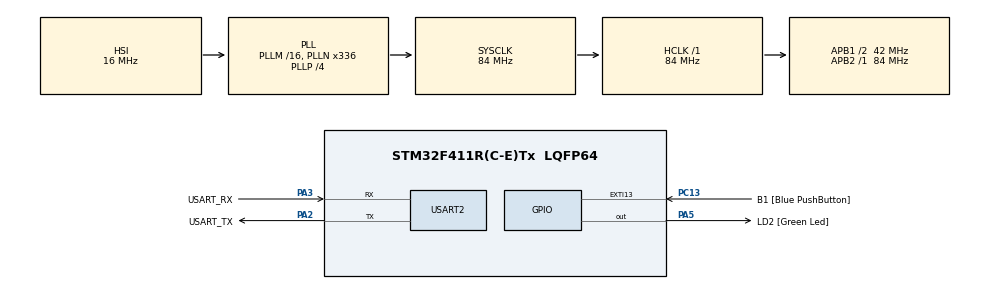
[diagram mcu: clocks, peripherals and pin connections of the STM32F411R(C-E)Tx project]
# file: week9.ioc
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Mcu.Family=STM32F4
Mcu.Name=STM32F411R(C-E)Tx
Mcu.Package=LQFP64
NVIC.PriorityGroup=NVIC_PRIORITYGROUP_0
NVIC.USART2_IRQn=true\:0\:0\:false\:false\:true\:true\:true
PA13.GPIO_Label=TMS
PA13.Mode=Serial_Wire
PA13.Signal=SYS_JTMS-SWDIO
PA14.GPIO_Label=TCK
PA14.Mode=Serial_Wire
PA14.Signal=SYS_JTCK-SWCLK
PA2.GPIO_Label=USART_TX
PA2.Mode=Asynchronous
PA2.Signal=USART2_TX
PA3.GPIO_Label=USART_RX
PA3.Mode=Asynchronous
PA3.Signal=USART2_RX
PA5.GPIO_Label=LD2 [Green Led]
PA5.Signal=GPIO_Output
PB3.GPIO_Label=SWO
PB3.Signal=SYS_JTDO-SWO
PC13-ANTI_TAMP.GPIO_Label=B1 [Blue PushButton]
PC13-ANTI_TAMP.GPIO_ModeDefaultEXTI=GPIO_MODE_IT_FALLING
PC13-ANTI_TAMP.Signal=GPXTI13
PC14-OSC32_IN.Mode=LSE-External-Oscillator
PC14-OSC32_IN.Signal=RCC_OSC32_IN
PC15-OSC32_OUT.Mode=LSE-External-Oscillator
PC15-OSC32_OUT.Signal=RCC_OSC32_OUT
PH0\ -\ OSC_IN.Mode=HSE-External-Clock-Source
PH0\ -\ OSC_IN.Signal=RCC_OSC_IN
PH1\ -\ OSC_OUT.Mode=HSE-External-Clock-Source
PH1\ -\ OSC_OUT.Signal=RCC_OSC_OUT
ProjectManager.HeapSize=0x200
ProjectManager.StackSize=0x400
ProjectManager.TargetToolchain=STM32CubeIDE
RCC.48MHZClocksFreq_Value=84000000
RCC.AHBFreq_Value=84000000
RCC.APB1CLKDivider=RCC_HCLK_DIV2
RCC.APB1Freq_Value=42000000
RCC.APB1TimFreq_Value=84000000
RCC.APB2Freq_Value=84000000
RCC.APB2TimFreq_Value=84000000
RCC.CortexFreq_Value=84000000
RCC.FLatency-AdvancedSettings=FLASH_LATENCY_2
RCC.HCLKFreq_Value=84000000
RCC.HSE_VALUE=8000000
RCC.HSI_VALUE=16000000
RCC.PLLN=336
RCC.PLLP=RCC_PLLP_DIV4
RCC.SYSCLKFreq_VALUE=84000000
RCC.SYSCLKSource=RCC_SYSCLKSOURCE_PLLCLK
RCC.VCOOutputFreq_Value=336000000
USART2.VirtualMode=VM_ASYNC
board=NUCLEO-F411RE

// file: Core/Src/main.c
/* USER CODE BEGIN Header */
/**
  ******************************************************************************
  * @file           : main.c
  * @brief          : Main program body
  ******************************************************************************
  * @attention
  *
  * <h2><center>&copy; Copyright (c) 2021 STMicroelectronics.
  * All rights reserved.</center></h2>
  *
  * This software component is licensed by ST under BSD 3-Clause license,
  * the "License"; You may not use this file except in compliance with the
  * License. You may obtain a copy of the License at:
  *                        opensource.org/licenses/BSD-3-Clause
  *
  ******************************************************************************
  */
/* USER CODE END Header */
#include "main.h"

/* USER CODE BEGIN Includes */
#include  <stdio.h> //sprintf
#include <string.h> //string
/* USER CODE END Includes */

UART_HandleTypeDef huart2;

/* USER CODE BEGIN PV */
char TxDataBuffer[32] =
{ 0 };
char RxDataBuffer[32] =
{ 0 };

/* USER CODE END PV */

void SystemClock_Config(void);
static void MX_GPIO_Init(void);
static void MX_USART2_UART_Init(void);
/* USER CODE BEGIN PFP */
void UARTRecieveAndResponsePolling();
int16_t UARTRecieveIT();

/* USER CODE END PFP */

int main(void)
{

  /* MCU Configuration--------------------------------------------------------*/

  /* Reset of all peripherals, Initializes the Flash interface and the Systick. */
  HAL_Init();

  /* Configure the system clock */
  SystemClock_Config();

  /* Initialize all configured peripherals */
  MX_GPIO_Init();
  MX_USART2_UART_Init();
  /* USER CODE BEGIN 2 */
  //ขอบเขตของ temp อยู่ภายในปีกกา ประหยัด cpu
  {
	  //กำหนดข้อความ
	  char temp[]="HELLO WORLD\r\n please type something to test UART\r\n";
	  //ไม่ใส่ (uint8_t*) ได้แต่ขึ้น warning //1000 ms= timeout ถ้าเกินจากนี้จะ fail
	  HAL_UART_Transmit(&huart2, (uint8_t*) temp, strlen(temp), 1000); //polling
  }

  /* USER CODE END 2 */

  /* Infinite loop */
  /* USER CODE BEGIN WHILE */
  while (1)
  {
	  /*Method 1 Polling Mode*/

	  		//UARTRecieveAndResponsePolling();

	  		/*Method 2 Interrupt Mode*/
	  //ขนาด 32 //interrupt 1 ครั้งต้องใส่ข้อมูลครบ 32 เท่านั้นถึงจะทำงานเสร็จ //ระหว่างที่ไม่ interrupt ทำให้คอนโทรลอย่างอื่นได้
	  //ประกาศนอก loop ได้ แต่จะ IT ครบ 32 ตัวจะทำงานแค่ครั้งเดียว
	  		HAL_UART_Receive_IT(&huart2,  (uint8_t*)RxDataBuffer, 32);

	  		/*Method 2 W/ 1 Char Received*/
	  //ดึงข้อมูลแต่ละตัวอกมาโดยไม่ต้องครบ 32
	  		int16_t inputchar = UARTRecieveIT();
	  		//ไม่มีค่าอะไรใหม่เข้ามา จะ return data = -1
	  		if(inputchar!=-1)
	  		{

	  			sprintf(TxDataBuffer, "ReceivedChar:[%c]\r\n", inputchar);
	  			HAL_UART_Transmit(&huart2, (uint8_t*)TxDataBuffer, strlen(TxDataBuffer), 1000);
	  		}
	  		//ถ้าตำแหน่งของ data ไม่เหมือนกันแสดงว่ามีตัวแปรใหม่เข้ามา

	  		/*This section just simulate Work Load*/
	  		//no need to add //blink 10 Hz
	  		//ของจริงถ้าใช้ polling จะกระพริบ 1 Hz เพราะ ถ้าrecieveได้ข้อมูล ไม่ครบ 32 จะรอไปเรื่อย ๆ จน timeout
	  		//ต้องพิมพ์ ตัวอักษรให้ครบ 32 ภายใน 1000 ms ไม่งั้นจะไม่ออกจาก time out หรือไม่ก็ต้องรอ 1000 ms ถึงจะออก
	  		//ต้องรอ polling timeout ไม่่งั้นจะทำงานื่นไม่ได้ ทำให้คอนโทรลช้า ไม่ realtime
	  		//ถ้าไม่พิมพ์อะไรเลย recieve จะเก็บค่าเปล่า ๆ มา
	  		//polling used in loop = Bad
	  		HAL_Delay(100);
	  		HAL_GPIO_TogglePin(LD2_GPIO_Port, LD2_Pin);
    /* USER CODE END WHILE */

  }
}

void SystemClock_Config(void)
{
  RCC_OscInitTypeDef RCC_OscInitStruct = {0};
  RCC_ClkInitTypeDef RCC_ClkInitStruct = {0};

  /** Configure the main internal regulator output voltage
  */
  __HAL_RCC_PWR_CLK_ENABLE();
  __HAL_PWR_VOLTAGESCALING_CONFIG(PWR_REGULATOR_VOLTAGE_SCALE1);
  /** Initializes the RCC Oscillators according to the specified parameters
  * in the RCC_OscInitTypeDef structure.
  */
  RCC_OscInitStruct.OscillatorType = RCC_OSCILLATORTYPE_HSI;
  RCC_OscInitStruct.HSIState = RCC_HSI_ON;
  RCC_OscInitStruct.HSICalibrationValue = RCC_HSICALIBRATION_DEFAULT;
  RCC_OscInitStruct.PLL.PLLState = RCC_PLL_ON;
  RCC_OscInitStruct.PLL.PLLSource = RCC_PLLSOURCE_HSI;
  RCC_OscInitStruct.PLL.PLLM = 16;
  RCC_OscInitStruct.PLL.PLLN = 336;
  RCC_OscInitStruct.PLL.PLLP = RCC_PLLP_DIV4;
  RCC_OscInitStruct.PLL.PLLQ = 4;
  if (HAL_RCC_OscConfig(&RCC_OscInitStruct) != HAL_OK)
  {
    Error_Handler();
  }
  /** Initializes the CPU, AHB and APB buses clocks
  */
  RCC_ClkInitStruct.ClockType = RCC_CLOCKTYPE_HCLK|RCC_CLOCKTYPE_SYSCLK
                              |RCC_CLOCKTYPE_PCLK1|RCC_CLOCKTYPE_PCLK2;
  RCC_ClkInitStruct.SYSCLKSource = RCC_SYSCLKSOURCE_PLLCLK;
  RCC_ClkInitStruct.AHBCLKDivider = RCC_SYSCLK_DIV1;
  RCC_ClkInitStruct.APB1CLKDivider = RCC_HCLK_DIV2;
  RCC_ClkInitStruct.APB2CLKDivider = RCC_HCLK_DIV1;

  if (HAL_RCC_ClockConfig(&RCC_ClkInitStruct, FLASH_LATENCY_2) != HAL_OK)
  {
    Error_Handler();
  }
}

static void MX_USART2_UART_Init(void)
{

  huart2.Instance = USART2;
  huart2.Init.BaudRate = 115200;
  huart2.Init.WordLength = UART_WORDLENGTH_8B;
  huart2.Init.StopBits = UART_STOPBITS_1;
  huart2.Init.Parity = UART_PARITY_NONE;
  huart2.Init.Mode = UART_MODE_TX_RX;
  huart2.Init.HwFlowCtl = UART_HWCONTROL_NONE;
  huart2.Init.OverSampling = UART_OVERSAMPLING_16;
  if (HAL_UART_Init(&huart2) != HAL_OK)
  {
    Error_Handler();
  }

}

static void MX_GPIO_Init(void)
{
  GPIO_InitTypeDef GPIO_InitStruct = {0};

  /* GPIO Ports Clock Enable */
  __HAL_RCC_GPIOC_CLK_ENABLE();
  __HAL_RCC_GPIOH_CLK_ENABLE();
  __HAL_RCC_GPIOA_CLK_ENABLE();
  __HAL_RCC_GPIOB_CLK_ENABLE();

  /*Configure GPIO pin Output Level */
  HAL_GPIO_WritePin(LD2_GPIO_Port, LD2_Pin, GPIO_PIN_RESET);

  /*Configure GPIO pin : B1_Pin */
  GPIO_InitStruct.Pin = B1_Pin;
  GPIO_InitStruct.Mode = GPIO_MODE_IT_FALLING;
  GPIO_InitStruct.Pull = GPIO_NOPULL;
  HAL_GPIO_Init(B1_GPIO_Port, &GPIO_InitStruct);

  /*Configure GPIO pin : LD2_Pin */
  GPIO_InitStruct.Pin = LD2_Pin;
  GPIO_InitStruct.Mode = GPIO_MODE_OUTPUT_PP;
  GPIO_InitStruct.Pull = GPIO_NOPULL;
  GPIO_InitStruct.Speed = GPIO_SPEED_FREQ_LOW;
  HAL_GPIO_Init(LD2_GPIO_Port, &GPIO_InitStruct);

}

/* USER CODE BEGIN 4 */
void UARTRecieveAndResponsePolling()
{
	//create buffer
	char Recieve[32]={0};

	//start recieve in polling mode
	HAL_UART_Receive(&huart2, (uint8_t*)Recieve, 32, 1000);

	//create feedback text
	sprintf(TxDataBuffer, "Received:[%s]\r\n", Recieve); //string printf //print ลงใน TxDataBuffer

	//second text //response ว่าได้รับแล้ว
	HAL_UART_Transmit(&huart2, (uint8_t*)TxDataBuffer, strlen(TxDataBuffer), 1000);

}

int16_t UARTRecieveIT()
{
	//store data last position
	static uint32_t dataPos =0;
	//create dummy data
	int16_t data=-1;
	//check pos in buffer vs last position
	//32 size - จำนวนที่เหลือ = ตำแหน่งปัจจุบัน
	//มีการพิมพ์ตำแหน่งจะไม่เท่ากัน
	if(huart2.RxXferSize - huart2.RxXferCount!=dataPos)
	{
		//read data from buffer
		data=RxDataBuffer[dataPos];

		//move to next pos //ตำแหน่งข้อมูลล่าสุดที่อ่าน
		dataPos= (dataPos+1)%huart2.RxXferSize;
	}
	return data;
}

void HAL_UART_RxCpltCallback(UART_HandleTypeDef *huart)
{
	//if(huart == huartxx) ถ้ามีหลายตัว
	sprintf(TxDataBuffer, "Received:[%s]\r\n", RxDataBuffer);
	HAL_UART_Transmit_IT(&huart2, (uint8_t*)TxDataBuffer, strlen(TxDataBuffer));
}

/* USER CODE END 4 */

void Error_Handler(void)
{
  __disable_irq();
  while (1)
  {
  }
}

/************************ (C) COPYRIGHT STMicroelectronics *****END OF FILE****/
